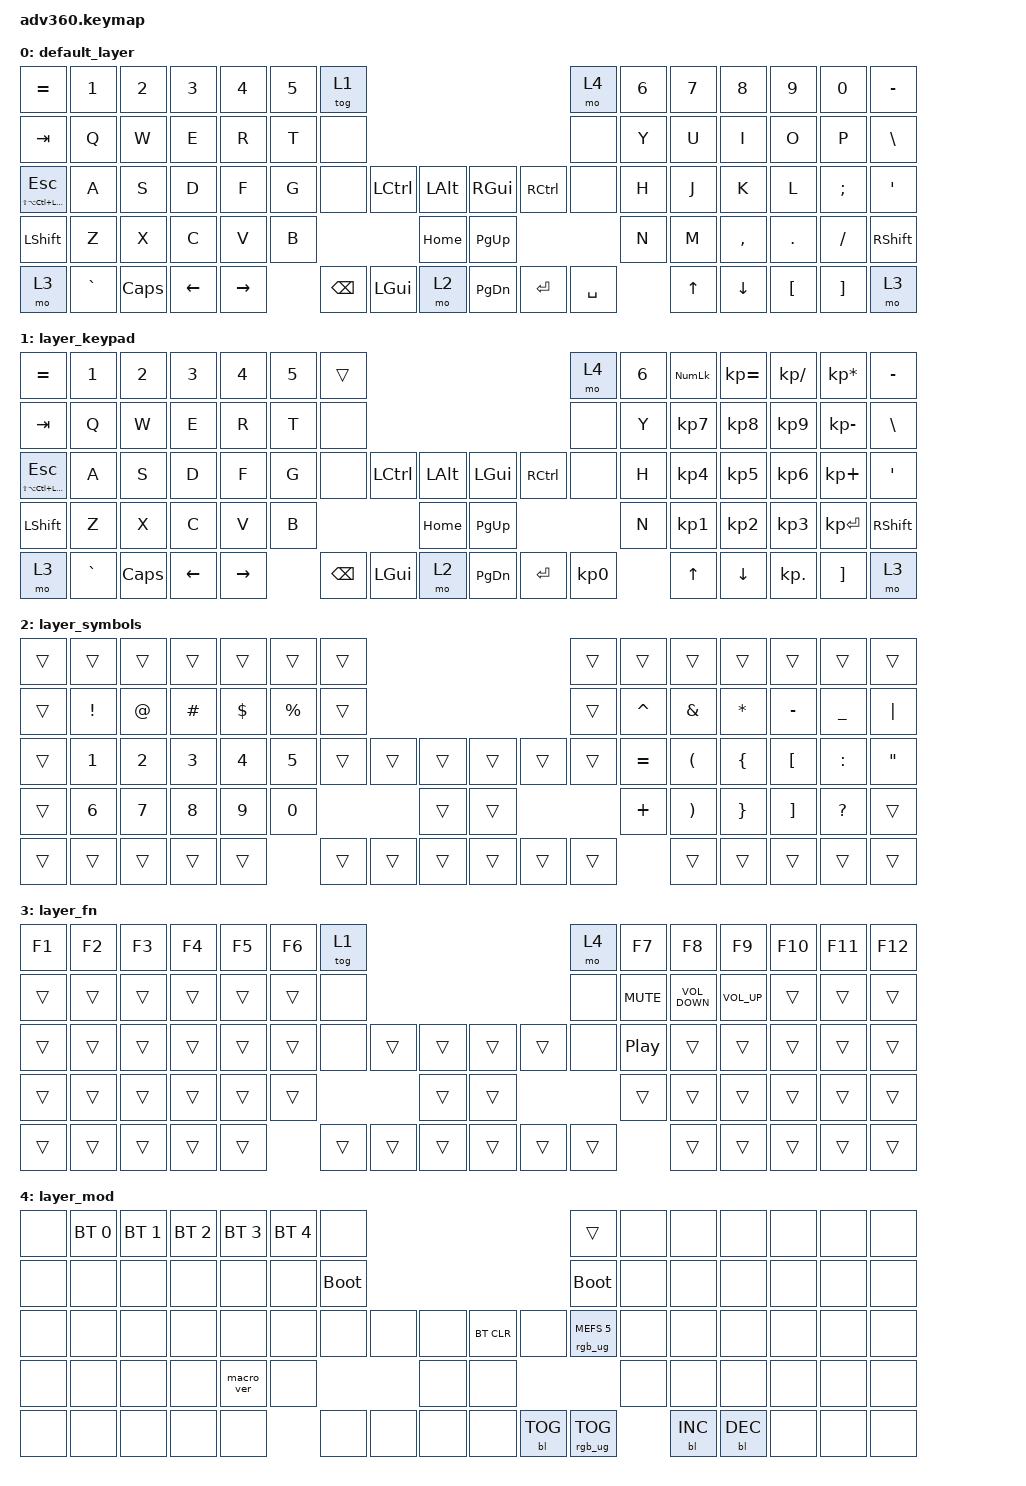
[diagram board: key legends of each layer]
/*
 * Copyright (c) 2020 The ZMK Contributors
 *
 * SPDX-License-Identifier: MIT
 */
/* THIS FILE WAS GENERATED!
 *
 * This file was generated automatically. You may or may not want to
 * edit it directly.
 */

#include <behaviors.dtsi>
#include <dt-bindings/zmk/backlight.h>
#include <dt-bindings/zmk/bt.h>
#include <dt-bindings/zmk/keys.h>
#include <dt-bindings/zmk/rgb.h>

/ {
    behaviors {
        #include "macros.dtsi"
    #include "version.dtsi"

        hm: homerow_mods {
            compatible = "zmk,behavior-hold-tap";
            label = "HOMEROW_MODS";
            #binding-cells = <2>;
            tapping-term-ms = <200>;
            quick_tap_ms = <175>;
            flavor = "tap-preferred";
            bindings = <&kp>, <&kp>;
        };
    };

    keymap {
        compatible = "zmk,keymap";

        default_layer {
            bindings = <
&kp EQUAL                 &kp N1     &kp N2    &kp N3    &kp N4     &kp N5  &tog 1                                                   &mo 4      &kp N6  &kp N7  &kp N8     &kp N9    &kp N0    &kp MINUS
&kp TAB                   &kp Q      &kp W     &kp E     &kp R      &kp T   &none                                                    &none      &kp Y   &kp U   &kp I      &kp O     &kp P     &kp BSLH
&mt LS(LA(LC(LGUI))) ESC  &kp A      &kp S     &kp D     &kp F      &kp G   &none     &kp LCTRL  &kp LALT      &kp RGUI   &kp RCTRL  &none      &kp H   &kp J   &kp K      &kp L     &kp SEMI  &kp SQT
&kp LSHFT                 &kp Z      &kp X     &kp C     &kp V      &kp B                        &kp HOME      &kp PG_UP                        &kp N   &kp M   &kp COMMA  &kp DOT   &kp FSLH  &kp RSHFT
&mo 3                     &kp GRAVE  &kp CAPS  &kp LEFT  &kp RIGHT          &kp BSPC  &kp LGUI   &mo 2         &kp PG_DN  &kp ENTER  &kp SPACE          &kp UP  &kp DOWN   &kp LBKT  &kp RBKT  &mo 3
            >;
        };

        layer_keypad {
            bindings = <
&kp EQUAL                    &kp N1     &kp N2    &kp N3    &kp N4     &kp N5  &trans                                                      &mo 4      &kp N6  &kp KP_NUM  &kp KP_EQUAL  &kp KP_DIVIDE  &kp KP_MULTIPLY  &kp MINUS
&kp TAB                      &kp Q      &kp W     &kp E     &kp R      &kp T   &none                                                       &none      &kp Y   &kp KP_N7   &kp KP_N8     &kp KP_N9      &kp KP_MINUS     &kp BSLH
&mt LS(LA(LC(LGUI))) ESCAPE  &kp A      &kp S     &kp D     &kp F      &kp G   &none     &kp LCTRL     &kp LALT      &kp LGUI   &kp RCTRL  &none      &kp H   &kp KP_N4   &kp KP_N5     &kp KP_N6      &kp KP_PLUS      &kp SQT
&kp LSHFT                    &kp Z      &kp X     &kp C     &kp V      &kp B                           &kp HOME      &kp PG_UP                        &kp N   &kp KP_N1   &kp KP_N2     &kp KP_N3      &kp KP_ENTER     &kp RSHFT
&mo 3                        &kp GRAVE  &kp CAPS  &kp LEFT  &kp RIGHT          &kp BSPC  &kp LEFT_GUI  &mo 2         &kp PG_DN  &kp ENTER  &kp KP_N0          &kp UP      &kp DOWN      &kp KP_DOT     &kp RBKT         &mo 3
            >;
        };

        layer_symbols {
            bindings = <
&trans  &trans    &trans  &trans    &trans      &trans       &trans                                      &trans  &trans     &trans                 &trans           &trans             &trans        &trans
&trans  &kp EXCL  &kp AT  &kp HASH  &kp DOLLAR  &kp PERCENT  &trans                                      &trans  &kp CARET  &kp AMPS               &kp ASTRK        &kp MINUS          &kp UNDER     &kp PIPE
&trans  &kp N1    &kp N2  &kp N3    &kp N4      &kp N5       &trans  &trans  &trans      &trans  &trans  &trans  &kp EQUAL  &kp LEFT_PARENTHESIS   &kp LEFT_BRACE   &kp LEFT_BRACKET   &kp COLON     &kp DOUBLE_QUOTES
&trans  &kp N6    &kp N7  &kp N8    &kp N9      &kp N0                       &trans      &trans                  &kp PLUS   &kp RIGHT_PARENTHESIS  &kp RIGHT_BRACE  &kp RIGHT_BRACKET  &kp QUESTION  &trans
&trans  &trans    &trans  &trans    &trans                   &trans  &trans  &trans      &trans  &trans  &trans             &trans                 &trans           &trans             &trans        &trans
            >;
        };

        layer_fn {
            bindings = <
&kp F1  &kp F2  &kp F3  &kp F4  &kp F5  &kp F6  &tog 1                                      &mo 4   &kp F7            &kp F8             &kp F9           &kp F10  &kp F11  &kp F12
&trans  &trans  &trans  &trans  &trans  &trans  &none                                       &none   &kp C_MUTE        &kp C_VOLUME_DOWN  &kp C_VOLUME_UP  &trans   &trans   &trans
&trans  &trans  &trans  &trans  &trans  &trans  &none   &trans  &trans      &trans  &trans  &none   &kp C_PLAY_PAUSE  &trans             &trans           &trans   &trans   &trans
&trans  &trans  &trans  &trans  &trans  &trans                  &trans      &trans                  &trans            &trans             &trans           &trans   &trans   &trans
&trans  &trans  &trans  &trans  &trans          &trans  &trans  &trans      &trans  &trans  &trans                    &trans             &trans           &trans   &trans   &trans
            >;
        };

        layer_mod {
            bindings = <
&none  &bt BT_SEL 0  &bt BT_SEL 1  &bt BT_SEL 2  &bt BT_SEL 3  &bt BT_SEL 4  &none                                                  &trans                  &none  &none       &none       &none  &none  &none
&none  &none         &none         &none         &none         &none         &bootloader                                            &bootloader             &none  &none       &none       &none  &none  &none
&none  &none         &none         &none         &none         &none         &none        &none  &none      &bt BT_CLR  &none       &rgb_ug RGB_MEFS_CMD 5  &none  &none       &none       &none  &none  &none
&none  &none         &none         &none         &macro_ver    &none                             &none      &none                                           &none  &none       &none       &none  &none  &none
&none  &none         &none         &none         &none                       &none        &none  &none      &none       &bl BL_TOG  &rgb_ug RGB_TOG                &bl BL_INC  &bl BL_DEC  &none  &none  &none
            >;
        };
    };
};
